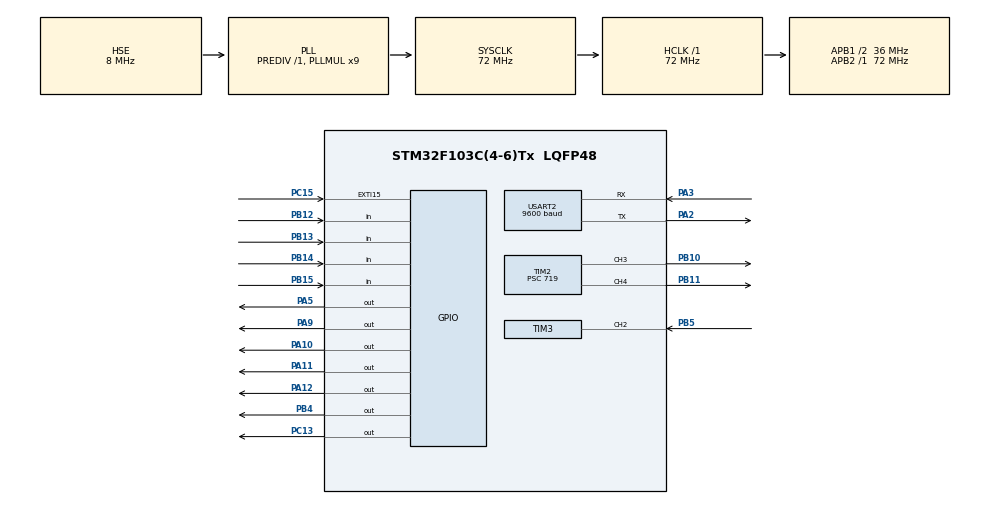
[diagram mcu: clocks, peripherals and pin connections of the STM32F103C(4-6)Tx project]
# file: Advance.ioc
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Mcu.Family=STM32F1
Mcu.Name=STM32F103C(4-6)Tx
Mcu.Package=LQFP48
NVIC.EXTI15_10_IRQn=true\:1\:0\:true\:false\:true\:true\:true\:true
NVIC.PriorityGroup=NVIC_PRIORITYGROUP_4
NVIC.TIM3_IRQn=true\:5\:0\:true\:false\:true\:true\:true\:true
PA10.Signal=GPIO_Output
PA11.Signal=GPIO_Output
PA12.Signal=GPIO_Output
PA13.Mode=Serial_Wire
PA13.Signal=SYS_JTMS-SWDIO
PA14.Mode=Serial_Wire
PA14.Signal=SYS_JTCK-SWCLK
PA2.Mode=Asynchronous
PA2.Signal=USART2_TX
PA3.Mode=Asynchronous
PA3.Signal=USART2_RX
PA5.Signal=GPIO_Output
PA9.Signal=GPIO_Output
PB10.Signal=S_TIM2_CH3
PB11.Signal=S_TIM2_CH4
PB12.Signal=GPIO_Input
PB13.Signal=GPIO_Input
PB14.Signal=GPIO_Input
PB15.Signal=GPIO_Input
PB4.Signal=GPIO_Output
PB5.Signal=S_TIM3_CH2
PC13-TAMPER-RTC.Signal=GPIO_Output
PC15-OSC32_OUT.GPIO_ModeDefaultEXTI=GPIO_MODE_IT_RISING_FALLING
PC15-OSC32_OUT.GPIO_PuPd=GPIO_PULLUP
PC15-OSC32_OUT.Signal=GPXTI15
PD0-OSC_IN.Mode=HSE-External-Oscillator
PD0-OSC_IN.Signal=RCC_OSC_IN
PD1-OSC_OUT.Mode=HSE-External-Oscillator
PD1-OSC_OUT.Signal=RCC_OSC_OUT
ProjectManager.HeapSize=0x200
ProjectManager.StackSize=0x400
ProjectManager.TargetToolchain=MDK-ARM V5
RCC.AHBFreq_Value=72000000
RCC.APB1CLKDivider=RCC_HCLK_DIV2
RCC.APB1Freq_Value=36000000
RCC.APB1TimFreq_Value=72000000
RCC.APB2Freq_Value=72000000
RCC.APB2TimFreq_Value=72000000
RCC.HCLKFreq_Value=72000000
RCC.PLLMUL=RCC_PLL_MUL9
RCC.PLLSourceVirtual=RCC_PLLSOURCE_HSE
RCC.SYSCLKFreq_VALUE=72000000
RCC.SYSCLKSource=RCC_SYSCLKSOURCE_PLLCLK
RCC.USBFreq_Value=72000000
SH.S_TIM2_CH3.0=TIM2_CH3,PWM Generation3 CH3
SH.S_TIM2_CH4.0=TIM2_CH4,PWM Generation4 CH4
SH.S_TIM3_CH2.0=TIM3_CH2,Input_Capture2_from_TI2
TIM2.AutoReloadPreload=TIM_AUTORELOAD_PRELOAD_ENABLE
TIM2.Channel-PWM\ Generation3\ CH3=TIM_CHANNEL_3
TIM2.Channel-PWM\ Generation4\ CH4=TIM_CHANNEL_4
TIM2.OCMode_PWM-PWM\ Generation3\ CH3=TIM_OCMODE_PWM1
TIM2.OCMode_PWM-PWM\ Generation4\ CH4=TIM_OCMODE_PWM1
TIM2.Period=99
TIM2.Prescaler=719
TIM2.Pulse-PWM\ Generation3\ CH3=0
TIM2.Pulse-PWM\ Generation4\ CH4=0
TIM3.Channel-Input_Capture2_from_TI2=TIM_CHANNEL_2
TIM3.Prescaler=100
USART2.BaudRate=9600
USART2.VirtualMode=VM_ASYNC
VP_TIM2_VS_ClockSourceINT.Mode=Internal
board=custom

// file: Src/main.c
/* USER CODE BEGIN Header */
/**
  ******************************************************************************
  * @file           : main.c
  * @brief          : Main program body
  ******************************************************************************
  * @attention
  *
  * Copyright (c) 2023 STMicroelectronics.
  * All rights reserved.
  *
  * This software is licensed under terms that can be found in the LICENSE file
  * in the root directory of this software component.
  * If no LICENSE file comes with this software, it is provided AS-IS.
  *
  ******************************************************************************
  */
/* USER CODE END Header */
#include "main.h"
#include "tim.h"
#include "usart.h"
#include "gpio.h"

/* USER CODE BEGIN Includes */

#include "./user/movement.h"

/* USER CODE END Includes */

/* USER CODE BEGIN PD */
#define KEY    HAL_GPIO_ReadPin(GPIOC, GPIO_PIN_15) //按键状态
#define KEY_PRES 1 //按键被按下

/* USER CODE END PD */

/* USER CODE BEGIN PV */

/*按键识别*/
uint8_t key=0;
uint8_t key_r=0;

/*黑线循迹*/
GPIO_PinState tr_L = GPIO_PIN_SET;
GPIO_PinState tr_R = GPIO_PIN_SET;

/*红外避障*/
GPIO_PinState av_L = GPIO_PIN_RESET;
GPIO_PinState av_R = GPIO_PIN_RESET;

/*超声波避障*/
uint32_t val= 0;          //计算的值
float Length = 0;         //测量最终距离
uint32_t aTxBuffer[30];     //声明sprintf的存储数组
uint8_t  TIM3_IC_STA;		//输入捕获状态
uint16_t TIM3_IC_VAL;		//输入捕获值

/*蓝牙连接*/
//uint8_t data;

/* USER CODE END PV */

void SystemClock_Config(void);
/* USER CODE BEGIN PFP */

uint8_t KEY_scan(uint8_t mode);
void tracking(void);
void redavoid(void);
void key_test(void);
void Trig_Capture(void);
void ultrasonic(void);
/* USER CODE END PFP */

/* USER CODE BEGIN 0 */

void HAL_GPIO_EXTI_Callback(uint16_t GPIO_Pin)
{
	if(KEY == 0){
		if(key_r == 3){
			key_r=0;
		}else{
			key_r++;
		}

	}

	while(KEY == 0);
}

void HAL_TIM_IC_CaptureCallback(TIM_HandleTypeDef* tim_baseHandle)
{
	if(tim_baseHandle->Instance==TIM3)
	{
		if((TIM3_IC_STA&0x80)==0)	//还未捕获成功
		{
			if(TIM3_IC_STA&0x40)	//成功捕获到一个下降沿
			{
				TIM3_IC_STA |= 0X80;	//标记成功，捕获到一次高电平完成
				TIM3_IC_VAL  = HAL_TIM_ReadCapturedValue(&htim3, TIM_CHANNEL_2);	//获取当前捕获值
				TIM_RESET_CAPTUREPOLARITY(&htim3, TIM_CHANNEL_2);			//清除原来设置
				TIM_SET_CAPTUREPOLARITY(&htim3, TIM_CHANNEL_2, TIM_ICPOLARITY_RISING);	//捕获到下降沿后，将捕获复位到捕获上升沿
			}
			else							//捕获到一个上升沿
			{
				TIM3_IC_STA = 0;
				TIM3_IC_VAL = 0;
				TIM3_IC_STA |= 0x40;	//第六位标记为捕获到上升沿
				__HAL_TIM_DISABLE(&htim3);		//关闭定时器
				__HAL_TIM_SET_COUNTER(&htim3, 0);	//定时器初始值设置为0
				TIM_RESET_CAPTUREPOLARITY(&htim3, TIM_CHANNEL_1);
				TIM_SET_CAPTUREPOLARITY(&htim3, TIM_CHANNEL_1, TIM_ICPOLARITY_FALLING);	//捕获到上升沿之后，将捕获设置为下降沿
				__HAL_TIM_ENABLE(&htim3);
			}
		}
	}
}

void HAL_TIM_PeriodElapsedCallback(TIM_HandleTypeDef* tim_baseHandle)
{
	if(tim_baseHandle->Instance==TIM3)
	{
		if((TIM3_IC_STA&0X80) ==0)		//还未捕获成功
		{
			if(TIM3_IC_STA&0X40)		//捕获到一个下降沿
			{
				if((TIM3_IC_STA&0X3F)==0X3F)	//高电平时间太长了
				{
					TIM3_IC_STA |= 0X80;	//标记成功捕获一次
					TIM3_IC_VAL = 0XFFFF;	//
				}
				else
					TIM3_IC_STA++;			//否则标记溢出数加一
			}
		}
	}
}

/* USER CODE END 0 */

int main(void)
{

  /* MCU Configuration--------------------------------------------------------*/

  /* Reset of all peripherals, Initializes the Flash interface and the Systick. */
  HAL_Init();

  /* Configure the system clock */
  SystemClock_Config();

  /* Initialize all configured peripherals */
  MX_GPIO_Init();
  MX_TIM2_Init();
  MX_USART2_UART_Init();
  MX_TIM3_Init();
  /* USER CODE BEGIN 2 */
	HAL_TIM_PWM_Start(&htim2,TIM_CHANNEL_3);
	HAL_TIM_PWM_Start(&htim2,TIM_CHANNEL_4);

	HAL_TIM_IC_Start_IT(&htim3,TIM_CHANNEL_2);   //开启TIM9的捕获通道1，并且开启捕获中断
  __HAL_TIM_ENABLE_IT(&htim3,TIM_IT_UPDATE);   //使能更新中断
  /* USER CODE END 2 */

  /* Infinite loop */
  while (1)
  {

    /* USER CODE BEGIN 3 */

		switch(key_r)
		{
			case 1:
				tracking();
				break;
			case 2:
				redavoid();
				break;
			case 3:
				ultrasonic();
				break;
			default:
				brake();
				HAL_Delay(500);
				break;
		}

  }

  /* USER CODE END 3 */
}

void SystemClock_Config(void)
{
  RCC_OscInitTypeDef RCC_OscInitStruct = {0};
  RCC_ClkInitTypeDef RCC_ClkInitStruct = {0};

  /** Initializes the RCC Oscillators according to the specified parameters
  * in the RCC_OscInitTypeDef structure.
  */
  RCC_OscInitStruct.OscillatorType = RCC_OSCILLATORTYPE_HSE;
  RCC_OscInitStruct.HSEState = RCC_HSE_ON;
  RCC_OscInitStruct.HSEPredivValue = RCC_HSE_PREDIV_DIV1;
  RCC_OscInitStruct.HSIState = RCC_HSI_ON;
  RCC_OscInitStruct.PLL.PLLState = RCC_PLL_ON;
  RCC_OscInitStruct.PLL.PLLSource = RCC_PLLSOURCE_HSE;
  RCC_OscInitStruct.PLL.PLLMUL = RCC_PLL_MUL9;
  if (HAL_RCC_OscConfig(&RCC_OscInitStruct) != HAL_OK)
  {
    Error_Handler();
  }

  /** Initializes the CPU, AHB and APB buses clocks
  */
  RCC_ClkInitStruct.ClockType = RCC_CLOCKTYPE_HCLK|RCC_CLOCKTYPE_SYSCLK
                              |RCC_CLOCKTYPE_PCLK1|RCC_CLOCKTYPE_PCLK2;
  RCC_ClkInitStruct.SYSCLKSource = RCC_SYSCLKSOURCE_PLLCLK;
  RCC_ClkInitStruct.AHBCLKDivider = RCC_SYSCLK_DIV1;
  RCC_ClkInitStruct.APB1CLKDivider = RCC_HCLK_DIV2;
  RCC_ClkInitStruct.APB2CLKDivider = RCC_HCLK_DIV1;

  if (HAL_RCC_ClockConfig(&RCC_ClkInitStruct, FLASH_LATENCY_2) != HAL_OK)
  {
    Error_Handler();
  }
}

/* USER CODE BEGIN 4 */

uint8_t KEY_scan(uint8_t mode)
{
	static uint8_t key_up=1;

	if(mode)  key_up=1;

	if(key_up && KEY == 0){
		HAL_Delay(10);
		key_up=0;
		if(key >= 3){
			key=0;
		}else{
			key++;
		}
		return key;

	}else if(KEY==1){
		key_up=1;
	}

	return key;

}

void tracking()
{
	while(1){
		tr_L=HAL_GPIO_ReadPin(GPIOB, GPIO_PIN_14);
		tr_R=HAL_GPIO_ReadPin(GPIOB, GPIO_PIN_15);

		if(tr_L == GPIO_PIN_SET && tr_R == GPIO_PIN_SET){
			brake();
		}else if(tr_L == GPIO_PIN_RESET && tr_R == GPIO_PIN_RESET){
			run(40);
		}else if(tr_L == GPIO_PIN_SET && tr_R == GPIO_PIN_RESET){
			left(40);
		}else if(tr_L == GPIO_PIN_RESET && tr_R == GPIO_PIN_SET){
			right(40);
		}else{
			brake();
		}

		//key_r=KEY_scan(0);
		if(key_r!=1){
			brake();HAL_Delay(200);
			break;
		}
	}
}

void redavoid()
{
	while(1)
  {
    av_L = HAL_GPIO_ReadPin(GPIOB,GPIO_PIN_12);
    av_R = HAL_GPIO_ReadPin(GPIOB,GPIO_PIN_13);
    if (av_L == GPIO_PIN_SET && av_R==GPIO_PIN_SET)
      run(40);   //调用前进函数
    else if (av_L == GPIO_PIN_SET && av_R == GPIO_PIN_RESET)// 右边探测到有障碍物，有信号返回，向左转
        left(40);
    else if (av_L == GPIO_PIN_RESET && av_R == GPIO_PIN_SET) //左边探测到有障碍物，有信号返回，向右转
      right(40);
    else // 都是有障碍物, 后退
    {
      back_time(40,400);//后退
      spin_right(40,400);//有旋转，调整方向
    }

		//key_r=KEY_scan(0);
		if(key_r!=2){
			brake();HAL_Delay(200);
			break;
		}
  }
}

void key_test()
{
	//key_r=KEY_scan(0);
		switch(key_r)
		{
			case 1:
				run(40);
				break;
			case 2:
				right(40);
				break;
			case 3:
				left(40);
				break;
			default:
				brake();
				HAL_Delay(500);
				break;
		}
}

void Trig_Capture(void)
{
	uint32_t i;
	HAL_GPIO_WritePin(GPIOB, GPIO_PIN_4, GPIO_PIN_SET);
	for(i=0;i<72*40;i++)
		__NOP();                      //利用指令耗时计算延时
	HAL_GPIO_WritePin(GPIOB, GPIO_PIN_4, GPIO_PIN_RESET);
}

float Get_Distance()
{
		Trig_Capture();
	  if(TIM3_IC_STA & 0x80)	//成功捕获一个脉宽
	  {
		  val = TIM3_IC_STA & 0x3F;	//获取溢出次数
		  val *= 65536;		//获得溢出的时间值
		  val += TIM3_IC_VAL;	//加上最后一次取得的值
		  Length = val * 338.38*100/2000000;
		  TIM3_IC_STA = 0;
	  }

		return Length;
}

void ultrasonic()
{
	while(1){
		Length=Get_Distance();
		if(Length<=50){
			back_time(40,200);
			spin_left(40,200);
		}else{
			run(40);
		}

		if(key!=3){
			break;
		}
	}
}

/* USER CODE END 4 */

void Error_Handler(void)
{
  __disable_irq();
  while (1)
  {
  }
}
